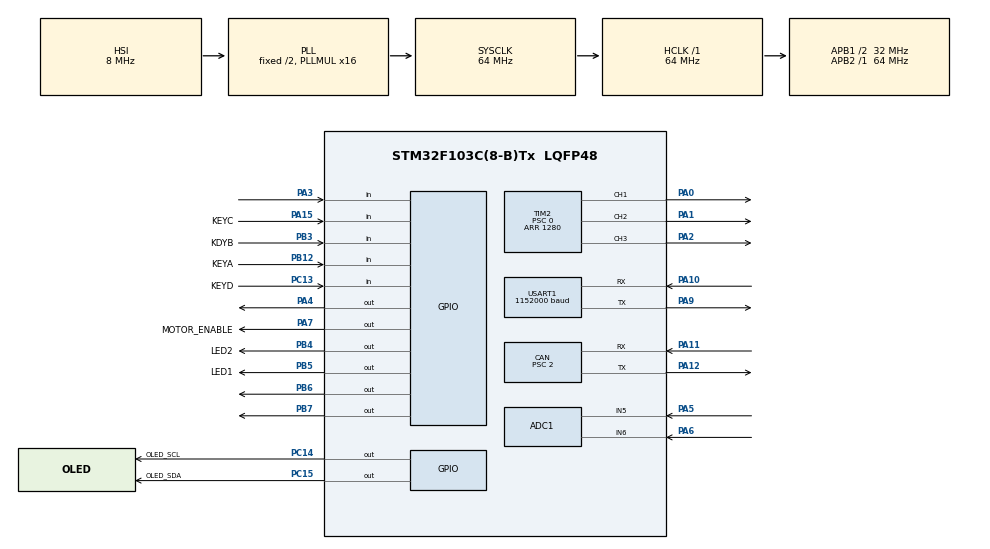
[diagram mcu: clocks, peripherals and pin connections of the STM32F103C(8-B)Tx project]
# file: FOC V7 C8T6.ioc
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ADC1.Channel-0\#ChannelRegularConversion=ADC_CHANNEL_5
ADC1.Channel-1\#ChannelRegularConversion=ADC_CHANNEL_6
ADC1.DiscontinuousConvMode=ENABLE
ADC1.NbrOfConversion=2
ADC1.NbrOfConversionFlag=1
ADC1.Rank-0\#ChannelRegularConversion=1
ADC1.Rank-1\#ChannelRegularConversion=2
ADC1.SamplingTime-0\#ChannelRegularConversion=ADC_SAMPLETIME_13CYCLES_5
ADC1.SamplingTime-1\#ChannelRegularConversion=ADC_SAMPLETIME_13CYCLES_5
ADC1.master=1
CAN.ABOM=ENABLE
CAN.AWUM=DISABLE
CAN.BS1=CAN_BS1_11TQ
CAN.BS2=CAN_BS2_4TQ
CAN.CalculateBaudRate=1000000
CAN.CalculateTimeBit=1000
CAN.CalculateTimeQuantum=62.5
CAN.Mode=CAN_MODE_NORMAL
CAN.NART=ENABLE
CAN.Prescaler=2
CAN.RFLM=DISABLE
CAN.SJW=CAN_SJW_1TQ
CAN.TTCM=DISABLE
CAN.TXFP=DISABLE
Mcu.Family=STM32F1
Mcu.Name=STM32F103C(8-B)Tx
Mcu.Package=LQFP48
NVIC.PriorityGroup=NVIC_PRIORITYGROUP_4
NVIC.TIM1_BRK_IRQn=true\:1\:0\:true\:false\:true\:true\:true
NVIC.TIM1_CC_IRQn=true\:1\:0\:true\:false\:true\:true\:true
NVIC.TIM1_TRG_COM_IRQn=true\:1\:0\:true\:false\:true\:true\:true
NVIC.TIM1_UP_IRQn=true\:1\:0\:true\:false\:true\:true\:true
NVIC.TIM3_IRQn=true\:1\:0\:true\:false\:true\:true\:true
NVIC.USART1_IRQn=true\:0\:0\:false\:false\:true\:true\:true
NVIC.USB_LP_CAN1_RX0_IRQn=true\:1\:0\:true\:false\:true\:true\:true
PA0-WKUP.Signal=S_TIM2_CH1_ETR
PA1.Signal=S_TIM2_CH2
PA10.Mode=Asynchronous
PA10.Signal=USART1_RX
PA11.Mode=CAN_Activate
PA11.Signal=CAN_RX
PA12.Mode=CAN_Activate
PA12.Signal=CAN_TX
PA13.Mode=Serial_Wire
PA13.Signal=SYS_JTMS-SWDIO
PA14.Mode=Serial_Wire
PA14.Signal=SYS_JTCK-SWCLK
PA15.GPIO_Label=KEYC
PA15.GPIO_PuPd=GPIO_PULLUP
PA15.Signal=GPIO_Input
PA2.Signal=S_TIM2_CH3
PA3.GPIO_PuPd=GPIO_PULLUP
PA3.Signal=GPIO_Input
PA4.Signal=GPIO_Output
PA5.Signal=ADCx_IN5
PA6.Signal=ADCx_IN6
PA7.GPIO_Label=MOTOR_ENABLE
PA7.Signal=GPIO_Output
PA9.Mode=Asynchronous
PA9.Signal=USART1_TX
PB12.GPIO_Label=KEYA
PB12.GPIO_PuPd=GPIO_PULLUP
PB12.Signal=GPIO_Input
PB3.GPIO_Label=KDYB
PB3.GPIO_PuPd=GPIO_PULLUP
PB3.Signal=GPIO_Input
PB4.GPIO_Label=LED2
PB4.Signal=GPIO_Output
PB5.GPIO_Label=LED1
PB5.Signal=GPIO_Output
PB6.GPIO_PuPd=GPIO_PULLUP
PB6.GPIO_Speed=GPIO_SPEED_FREQ_HIGH
PB6.PinState=GPIO_PIN_SET
PB6.Signal=GPIO_Output
PB7.GPIO_ModeDefaultOutputPP=GPIO_MODE_OUTPUT_OD
PB7.GPIO_PuPd=GPIO_PULLUP
PB7.GPIO_Speed=GPIO_SPEED_FREQ_HIGH
PB7.PinState=GPIO_PIN_SET
PB7.Signal=GPIO_Output
PC13-TAMPER-RTC.GPIO_Label=KEYD
PC13-TAMPER-RTC.GPIO_PuPd=GPIO_PULLUP
PC13-TAMPER-RTC.Signal=GPIO_Input
PC14-OSC32_IN.GPIO_Label=OLED_SCL
PC14-OSC32_IN.GPIO_Speed=GPIO_SPEED_FREQ_HIGH
PC14-OSC32_IN.Signal=GPIO_Output
PC15-OSC32_OUT.GPIO_Label=OLED_SDA
PC15-OSC32_OUT.GPIO_Speed=GPIO_SPEED_FREQ_HIGH
PC15-OSC32_OUT.Signal=GPIO_Output
ProjectManager.HeapSize=0x200
ProjectManager.StackSize=0x400
ProjectManager.TargetToolchain=MDK-ARM V5.27
RCC.ADCPresc=RCC_ADCPCLK2_DIV6
RCC.AHBFreq_Value=64000000
RCC.APB1CLKDivider=RCC_HCLK_DIV2
RCC.APB1Freq_Value=32000000
RCC.APB1TimFreq_Value=64000000
RCC.APB2Freq_Value=64000000
RCC.APB2TimFreq_Value=64000000
RCC.FLatency=FLASH_LATENCY_2
RCC.HCLKFreq_Value=64000000
RCC.PLLMUL=RCC_PLL_MUL16
RCC.SYSCLKFreq_VALUE=64000000
RCC.SYSCLKSource=RCC_SYSCLKSOURCE_PLLCLK
RCC.USBFreq_Value=64000000
SH.ADCx_IN5.0=ADC1_IN5,IN5
SH.ADCx_IN6.0=ADC1_IN6,IN6
SH.S_TIM2_CH1_ETR.0=TIM2_CH1,PWM Generation1 CH1
SH.S_TIM2_CH2.0=TIM2_CH2,PWM Generation2 CH2
SH.S_TIM2_CH3.0=TIM2_CH3,PWM Generation3 CH3
TIM1.AutoReloadPreload=TIM_AUTORELOAD_PRELOAD_DISABLE
TIM1.ClockDivision=TIM_CLOCKDIVISION_DIV1
TIM1.CounterMode=TIM_COUNTERMODE_UP
TIM1.Period=0
TIM1.Prescaler=64-1
TIM1.TIM_MasterOutputTrigger=TIM_TRGO_RESET
TIM1.TIM_MasterSlaveMode=TIM_MASTERSLAVEMODE_DISABLE
TIM2.AutoReloadPreload=TIM_AUTORELOAD_PRELOAD_DISABLE
TIM2.Channel-PWM\ Generation1\ CH1=TIM_CHANNEL_1
TIM2.Channel-PWM\ Generation2\ CH2=TIM_CHANNEL_2
TIM2.Channel-PWM\ Generation3\ CH3=TIM_CHANNEL_3
TIM2.ClockDivision=TIM_CLOCKDIVISION_DIV1
TIM2.CounterMode=TIM_COUNTERMODE_CENTERALIGNED1
TIM2.OC1Preload_PWM=ENABLE
TIM2.OC2Preload_PWM=ENABLE
TIM2.OC3Preload_PWM=ENABLE
TIM2.OCFastMode_PWM-PWM\ Generation1\ CH1=TIM_OCFAST_DISABLE
TIM2.OCFastMode_PWM-PWM\ Generation2\ CH2=TIM_OCFAST_DISABLE
TIM2.OCFastMode_PWM-PWM\ Generation3\ CH3=TIM_OCFAST_DISABLE
TIM2.OCMode_PWM-PWM\ Generation1\ CH1=TIM_OCMODE_PWM1
TIM2.OCMode_PWM-PWM\ Generation2\ CH2=TIM_OCMODE_PWM1
TIM2.OCMode_PWM-PWM\ Generation3\ CH3=TIM_OCMODE_PWM1
TIM2.OCPolarity_1=TIM_OCPOLARITY_HIGH
TIM2.OCPolarity_2=TIM_OCPOLARITY_HIGH
TIM2.OCPolarity_3=TIM_OCPOLARITY_HIGH
TIM2.Period=1280
TIM2.Prescaler=0
TIM2.Pulse-PWM\ Generation1\ CH1=0
TIM2.Pulse-PWM\ Generation2\ CH2=0
TIM2.Pulse-PWM\ Generation3\ CH3=0
TIM2.TIM_MasterOutputTrigger=TIM_TRGO_RESET
TIM2.TIM_MasterSlaveMode=TIM_MASTERSLAVEMODE_DISABLE
TIM3.Period=100
TIM3.Prescaler=64-1
USART1.BaudRate=1152000
USART1.VirtualMode=VM_ASYNC
VP_TIM1_VS_ClockSourceINT.Mode=Internal
VP_TIM2_VS_ClockSourceINT.Mode=Internal
VP_TIM3_VS_ClockSourceINT.Mode=Internal
board=custom

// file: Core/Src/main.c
/* USER CODE BEGIN Header */
/**
  ******************************************************************************
  * @file           : main.c
  * @brief          : Main program body
  ******************************************************************************
  * @attention
  *
  * Copyright (c) 2024 STMicroelectronics.
  * All rights reserved.
  *
  * This software is licensed under terms that can be found in the LICENSE file
  * in the root directory of this software component.
  * If no LICENSE file comes with this software, it is provided AS-IS.
  *
  ******************************************************************************
  */
/* USER CODE END Header */
#include "main.h"
#include "adc.h"
#include "can.h"
#include "tim.h"
#include "usart.h"
#include "gpio.h"

/* USER CODE BEGIN Includes */
#include <stdio.h>
#include <string.h>
#include <stdlib.h>
#include "MagneticSensor.h"
#include "FOCMotor.h"
#include "BLDCmotor.h"
#include "FlashStorage.h"
#include "Kalman.h"
#include "pid.h"
#include "InlineCurrentSense.h"

#include "OLED_H.h"

/* USER CODE END Includes */

/* USER CODE BEGIN PTD */
enum
{
	//不响
	T_None=0,
	//低八度
  T_L1=3822,
  T_L2=3405,
  T_L3=3034,
  T_L4=2863,
  T_L5=2551,
  T_L6=2272,
  T_L7=2052,
	//中八度
  T_M1=1911,
  T_M2=1703,
  T_M3=1517,
  T_M4=1432,
  T_M5=1276,
  T_M6=1136,
  T_M7=1012,
	//高八度
  T_H1=956,
  T_H2=851,
  T_H3=758,
  T_H4=716,
  T_H5=638,
  T_H6=568,
  T_H7=506
};

/* USER CODE END PTD */

/* USER CODE BEGIN PM */
#define VOLT_SUPPLY 12 //供电母线电压
#define MAX_VOLT 5.0f  //限制供电电压(平均值)，最高为VOLT_SUPPLY/√3; 4010电机:6.9V, 2804电机:4V

/* USER CODE END PM */

/* USER CODE BEGIN PV */
float targetVotage = 0;    //当前目标电压
uint8_t beepPlaying = 0;   //当前是否在蜂鸣状态
uint8_t motorID = 1;       //初始电机ID
uint8_t ledBlink = 1;      //led是否处于正常闪烁模式
float speed = 0;           //传感器作差数据所得转速
float filteredAngle = 0;   //经滤波得到的转子角度
uint32_t lastRecvTime = 0; //上次收到CAN数据帧的时间
Kalman angleFilter; //卡尔曼滤波结构体
uint16_t Uart_Send_Flag=1;

float Motor_Target_angle[6];
float Motor_Target_speed[6]={3.14};
float Motor_Target_current[6]={2};//  目标电流，设定为2就是0.2A左右， 用0.2是因为之前OLED显示方便。
float Motor_Feedback_angle[6];
float Motor_Feedback_speed[6];
float Motor_Feedback_current[6];

/* USER CODE END PV */

void SystemClock_Config(void);

/* USER CODE BEGIN 0 */
//重定义fputc函数
int fputc(int ch, FILE *f)
{
	while((USART1->SR&0X40)==0);
    USART1->DR = (uint8_t) ch;
	return ch;
}
//单片机软件复位
void System_Reset(void)
{
	__set_FAULTMASK(1);
	NVIC_SystemReset();
}

/*************CAN通信*************/
typedef union
{
    __IO uint32_t value;
    struct
    {
        uint8_t REV : 1;			///< [0]    ：未使用
        uint8_t RTR : 1;			///< [1]    : RTR（数据帧或远程帧标志位）
        uint8_t IDE : 1;			///< [2]    : IDE（标准帧或扩展帧标志位）
        uint32_t EXID : 18;			///< [21:3] : 存放扩展帧ID
        uint16_t STID : 11;			///< [31:22]: 存放标准帧ID
    } Sub;
} CAN_FilterRegTypeDef;

#define CAN_BASE_ID 0x100						///< CAN标准ID，最大11位，也就是0x7FF

#define CAN_FILTER_MODE_MASK_ENABLE 1		///< CAN过滤器模式选择：=0：列表模式  =1：屏蔽模式

#define CAN_ID_TYPE_STD_ENABLE      1       ///< CAN过滤ID类型选择：=1：标准ID，=0：扩展ID

//CAN外设初始化
void CAN_Init1111()
{

	  CAN_FilterTypeDef sFilterConfig;
    CAN_FilterRegTypeDef IDH = {0};
    CAN_FilterRegTypeDef IDL = {0};

#if CAN_ID_TYPE_STD_ENABLE
    IDH.Sub.STID = (CAN_BASE_ID >> 16) & 0xFFFF;		// 标准ID高16位
    IDL.Sub.STID = (CAN_BASE_ID & 0xFFFF);				// 标准ID低16位
#else
    IDH.Sub.EXID = (CAN_BASE_ID >> 16) & 0xFFFF;		// 扩展ID高16位
    IDL.Sub.EXID = (CAN_BASE_ID & 0xFFFF);				// 扩展ID低16位
    IDL.Sub.IDE  = 1;									// 扩展帧标志位置位
#endif
    sFilterConfig.FilterBank           = 0;												// 设置过滤器组编号
#if CAN_FILTER_MODE_MASK_ENABLE
    sFilterConfig.FilterMode           = CAN_FILTERMODE_IDMASK;							// 屏蔽位模式
#else
    sFilterConfig.FilterMode           = CAN_FILTERMODE_IDLIST;							// 列表模式
#endif
    sFilterConfig.FilterScale          = CAN_FILTERSCALE_32BIT;							// 32位宽
    sFilterConfig.FilterIdHigh         = IDH.value;										// 标识符寄存器一ID高十六位，放入扩展帧位
    sFilterConfig.FilterIdLow          = IDL.value;										// 标识符寄存器一ID低十六位，放入扩展帧位
    sFilterConfig.FilterMaskIdHigh     = IDH.value;										// 标识符寄存器二ID高十六位，放入扩展帧位
    sFilterConfig.FilterMaskIdLow      = IDL.value;										// 标识符寄存器二ID低十六位，放入扩展帧位
    sFilterConfig.FilterFIFOAssignment = CAN_RX_FIFO0;									// 过滤器组关联到FIFO0
    sFilterConfig.FilterActivation     = ENABLE;										// 激活过滤器
    sFilterConfig.SlaveStartFilterBank = 14;											// 设置从CAN的起始过滤器编号，本单片机只有一个CAN，顾此参数无效
    if (HAL_CAN_ConfigFilter(&hcan, &sFilterConfig) != HAL_OK)
    {
        Error_Handler();
    }
	HAL_CAN_Start(&hcan);
	HAL_CAN_ActivateNotification(&hcan, CAN_IT_RX_FIFO0_MSG_PENDING);

}

//DQCurrent_s current;

// 声明外部变量，这些变量可能在其他文件中定义和更新
extern int pattern; // 模式变量
extern float Target_angle; // 目标角度
extern float Target_speed; // 目标速度
extern float Target_current; // 目标电流
extern int Gear_Switch_Number; // 齿轮切换数
extern float Damping_Vale; // 阻尼值

//发送一个反馈数据帧
void CAN_SendState(float angle, float speed)
{
	CAN_TxHeaderTypeDef header;
	header.StdId = motorID + 0x100;
	header.IDE = CAN_ID_STD;
	header.RTR = CAN_RTR_DATA;
	header.DLC = 8  ;

	uint8_t data[8  ];    //   -0.1
	memcpy(data,&(int32_t){angle*1000},4); 				//角度数据放在前四个字节
	memcpy(&data[4],&(int16_t){speed*100},2); 		//转速数据放在第5-6字节
	memcpy(&data[6],&(int16_t){current.q*100},2); //转速数据放在第5-6字节
//	memcpy(&data[8],&(int16_t){pattern},2);			//CAN 通信只有最多八位数据，要么用CAN——FD

	//printf("%.2f\r\n",angle);
	uint32_t mailbox;
	HAL_CAN_AddTxMessage(&hcan, &header, data, &mailbox);
}

// 定义一个结构体用于存储CAN接收的数据包，包括头部信息和数据负载
typedef struct
{
	CAN_RxHeaderTypeDef hdr; // CAN接收头部信息
	uint8_t payload[8]; // CAN接收的数据负载，最大8字节
}CAN_RxPacketTypeDef;

void HAL_CAN_RxFifo0MsgPendingCallback(CAN_HandleTypeDef *canHandle)
{
	static CAN_RxPacketTypeDef packet;

    // CAN数据接收
    if (canHandle->Instance == hcan.Instance)
    {
        if (HAL_CAN_GetRxMessage(canHandle, CAN_RX_FIFO0, &packet.hdr, packet.payload) == HAL_OK)		// 获得接收到的数据头和数据
        {

					if(packet.hdr.StdId >= 0x101 && packet.hdr.StdId <= 0x106) //ID=1~4接收0x100数据帧
					{
						Motor_Feedback_angle  [packet.hdr.StdId - 0x101] =   *(int32_t *)&packet.payload[0] / 1000.0f ;
						Motor_Feedback_speed  [packet.hdr.StdId - 0x101] =  (*(int16_t *)&packet.payload[4] );//速度反馈，放大了100倍。
						Motor_Feedback_current[packet.hdr.StdId - 0x101] =  (*(int16_t *)&packet.payload[6] );//速度反馈，放大了100倍。

					}

          HAL_CAN_ActivateNotification(canHandle, CAN_IT_RX_FIFO0_MSG_PENDING);						// 再次使能FIFO0接收中断
        }
    }
}

/*************FOC*************/

void SimpleFOC_Init()
{
	HAL_TIM_PWM_Start(&htim2,TIM_CHANNEL_1); //开启三个PWM通道输出
	HAL_TIM_PWM_Start(&htim2,TIM_CHANNEL_2);
	HAL_TIM_PWM_Start(&htim2,TIM_CHANNEL_3);

	MagneticSensor_Init(); //初始化磁传感器

	voltage_power_supply=VOLT_SUPPLY; //设定FOC所需参数
	voltage_limit=MAX_VOLT;
	voltage_sensor_align=voltage_limit;
	targetVotage=0;

	Motor_init(); //初始化电机信息
	Motor_initFOC(); //初始化FOC参数

	motorID = Flash_ReadMotorID(); //从Flash读取电机ID
	motorID = motorID ? motorID : 1;
//	motorID=1;
//
//	Flash_SaveMotorID(motorID);
//
//	printf("motorID = %d\r\n",motorID);
}

/*************蜂鸣*************/

//根据蜂鸣周期配置并触发定时器
void Beep_Play(uint16_t period)
{
	if(period!=0)
	{
		__HAL_TIM_SetAutoreload(&htim1,period/2);
		HAL_TIM_Base_Start_IT(&htim1);
		beepPlaying = 1;
	}
	else
	{
		HAL_TIM_Base_Stop_IT(&htim1);
		beepPlaying = 0;
	}
}

//播放一串音符
void Beep_PlayNotes(uint8_t num, uint16_t notes[][2])
{
	for(uint8_t i=0; i<num; i++)
	{
		Beep_Play(notes[i][0]);
		HAL_Delay(notes[i][1]);
	}
	Beep_Play(0);
}

//蜂鸣中断处理，在定时器中断回调中调用
void Beep_IRQHandler()
{
	static uint8_t flipFlag = 0;
	if(targetVotage == 0)
	{
		setPhaseVoltage(voltage_limit/2, 0, _PI/3 * flipFlag); //使磁场方向在0-PI/3间震荡
		flipFlag = !flipFlag;
	}
}

/*************各个定时任务*************/

//非阻塞按键处理
//void Key_Process()
//{
//	static uint32_t downTime = 0;
//	static uint8_t lastKeyState = 0;
//	uint8_t keyState = (HAL_GPIO_ReadPin(GPIOA, GPIO_PIN_3) == GPIO_PIN_RESET) ? 1 : 0;
//	if(keyState && !lastKeyState) //按下
//	{
//		downTime = HAL_GetTick();
//		ledBlink = 0;
//	}
//	else if(keyState && lastKeyState) //按住
//	{
//		uint32_t pressTime = HAL_GetTick() - downTime;
//		if(pressTime < 500*8) //闪8下，每次500ms
//		{
//			if(pressTime%500 < 100)
//				HAL_GPIO_WritePin(GPIOC, GPIO_PIN_13, GPIO_PIN_SET);
//			else
//				HAL_GPIO_WritePin(GPIOC, GPIO_PIN_13, GPIO_PIN_RESET);
//		}
//		else if(pressTime < 500*12)
//			HAL_GPIO_WritePin(GPIOC, GPIO_PIN_13, GPIO_PIN_SET);
//		else
//			HAL_GPIO_WritePin(GPIOC, GPIO_PIN_13, GPIO_PIN_RESET); //闪8下之后常亮
//	}
//	else if(!keyState && lastKeyState) //松开
//	{
//		uint32_t pressTime = HAL_GetTick() - downTime;
//		if(pressTime > 50 && pressTime <500*8) //闪8下以内松开，设置ID
//		{
//			motorID = pressTime/500 + 1;
//			Flash_SaveMotorID(motorID);
//		}
//		else if(pressTime >= 500*8 && pressTime < 500*12) //闪8下后松开，清空Flash后复位重新校准
//		{
//			Flash_EraseMotorParam();
//			System_Reset();
//		}
//		HAL_GPIO_WritePin(GPIOC, GPIO_PIN_13, GPIO_PIN_RESET);
//		ledBlink = 1;
//	}
//	lastKeyState = keyState;
//}

//非阻塞LED定时任务，闪烁次数表示电机ID
void Led_Process()
{
	if(!ledBlink) return;
	uint32_t period = 1000 + (100+200)*motorID;
	uint32_t mod = HAL_GetTick() % period;
	if(mod < (100+200)*motorID && mod%(100+200) < 100)
	{
		HAL_GPIO_WritePin(GPIOB, GPIO_PIN_4, GPIO_PIN_SET);
	//HAL_GPIO_WritePin(GPIOB, GPIO_PIN_5, GPIO_PIN_SET);
	}
	else
	{
		HAL_GPIO_WritePin(GPIOB, GPIO_PIN_4, GPIO_PIN_RESET);
//	HAL_GPIO_WritePin(GPIOB, GPIO_PIN_5, GPIO_PIN_RESET);
	}
}

////电机转速计算
//void Motor_SpeedCalcProcess()
//{
//	const uint8_t speedLpfLen = 5;
//	static float speedLpfBuf[speedLpfLen] = {0}; //存放5个filteredAngle
//
//	float angle = filteredAngle;
//	float curSpeed = (angle-speedLpfBuf[0])*1000/speedLpfLen/_2PI*60;
//	speed = curSpeed;
//
//	for(uint8_t i=0; i<speedLpfLen-1; i++)
//		speedLpfBuf[i] = speedLpfBuf[i+1];
//	speedLpfBuf[speedLpfLen-1] = angle;
//}

////CAN离线检测，500ms没收到CAN信号则停机
//void Motor_OfflineCheckProcess()
//{
//	static uint8_t isOffline = 0;
//	if(HAL_GetTick() - lastRecvTime > 500)
//	{
//		if(!isOffline)
//		{
//			targetVotage = 0;
//			isOffline = 1;
//		}
//	}
//	else
//		isOffline = 0;
//}

//在滴答定时器中调用，1ms周期，处理各定时任务
void SysTick_UserExec()
{
//	Key_Process();
	Led_Process();
	//Motor_SpeedCalcProcess();
	//Motor_OfflineCheckProcess();
	if(HAL_GetTick()%5)
		CAN_SendState(shaft_angle, shaft_velocity);
//	filteredAngle = Kalman_Filter(&angleFilter, shaft_angle);
}

void HAL_ADCEx_InjectedConvCpltCallback(ADC_HandleTypeDef* hadc)
{

}

uint8_t rx_byte; // 用于存储接收到的一个字节
extern char show_one_flag_2;

void HAL_UART_RxCpltCallback(UART_HandleTypeDef *huart)
{
    // 仅处理特定的串口中断（如 USART1），避免多串口冲突
    if (huart->Instance == USART1)
    {
        // 静态变量用于状态机
        static char command_buffer[5];         // 存储完整的5字符命令
        static uint8_t buffer_index = 0;       // 当前缓冲区索引
        static enum { WAIT_COMMAND, WAIT_EQUAL, WAIT_DATA } state = WAIT_COMMAND; // 状态机状态

        // 获取接收到的字节
        char received = rx_byte;

        switch(state)
        {
            case WAIT_COMMAND:
                // 检查是否为有效的命令字母（M, C, A, S, Z, G），支持大小写
                if ((received == 'M') || (received == 'm') ||
                    (received == 'C') || (received == 'c') ||
                    (received == 'A') || (received == 'a') ||
                    (received == 'S') || (received == 's') ||
                    (received == 'D') || (received == 'd') ||
                    (received == 'G') || (received == 'g'))
                {
                    command_buffer[0] = received;
                    buffer_index = 1;
                    state = WAIT_EQUAL;
                }
                // 如果不是命令字母，则忽略该字节，继续等待
                break;

            case WAIT_EQUAL:
                if (received == '=')
                {
                    state = WAIT_DATA;
                }
                else
                {
                    // 如果不是 '=', 则重置状态机
                    buffer_index = 0;
                    state = WAIT_COMMAND;
                }
                break;

            case WAIT_DATA:
                // 接收数据部分的三个字符
                if (buffer_index < 4)
                {
                    command_buffer[buffer_index++] = received;
                }

                // 当接收满4个字符（包括命令字母），则处理命令
                if (buffer_index >= 4)
                {
                    command_buffer[4] = '\0'; // 添加字符串结束符，确保安全

                    // 提取命令字母和数据部分
                    char cmd = command_buffer[0];
                    char data_str[4];
                    memcpy(data_str, &command_buffer[1], 3);
                    data_str[3] = '\0'; // 确保字符串结束

                    // 将数据部分转换为整数
                    int value = atoi(data_str);

										Uart_Send_Flag = 1 ;// 刷新串口打印内容

                    // 根据命令类型更新相应的变量
                    switch(cmd)
                    {
                        case 'M':
                        case 'm':
                            // 更改 pattern 模式变量，按照要求为 1xxx
                            pattern = 1000 + value;
                            break;

                        case 'C':
                        case 'c':
                            // 更改目标电流指令，将整数转换为浮点数 xx.x
                            Motor_Target_current[0] = value ;
                            break;

                        case 'A':
                        case 'a':
                            // 更改目标角度指令，将整数转换为浮点数 xx.x
                            Motor_Target_angle[0] = value / 10.0f;
                            break;

                        case 'S':
                        case 's':
                            // 更改目标速度指令，假设直接赋值为浮点数
                            Motor_Target_speed[0] = (float)value/10.f;
                            break;

                        case 'D':
                        case 'd':
                            // 更改阻尼指令，直接赋值为整数
												Damping_Vale = (float)value/10.f;//只能发送1，所以要/10
                            break;

                        case 'G':
                        case 'g':
                            // 更改多档开关挡位指令，直接赋值为整数
                            Gear_Switch_Number = value;
                            break;

                        default:
                            // 未知命令，忽略
                            break;
                    }
										Target_angle = Motor_Target_angle[0];			//设定目标角度
										Target_current = Motor_Target_current[0];	//设定目标电流
										Target_speed 	= Motor_Target_speed[0];			//设定目标速度
										show_one_flag_2=1;
                    // 处理完一个完整命令后，重置状态机
                    buffer_index = 0;
                    state = WAIT_COMMAND;
                }
                break;

            default:
                // 默认情况下，重置状态机
                buffer_index = 0;
                state = WAIT_COMMAND;
                break;
        }

        // 重新启动接收中断，以便继续接收下一个字节
        HAL_UART_Receive_IT(huart, &rx_byte, 1);
    }
}

void Uart_Send_Task()
{
	if(Uart_Send_Flag)
	{
		Uart_Send_Flag=0;
		switch(pattern)
		{

				case 1000:// 低速高扭矩
					printf("Low speed high torque    <<%4d>> \r\n ",pattern);

					break;
				case 1010:// 位置模式+ 电流限制
					printf("position_loop +  Current_loop    <<%4d>> \r\n ",pattern);
					printf("Target_Angle:%.2f \r\n",Motor_Target_angle[0]);
					printf("Max_Current: %.2f \r\n",Motor_Target_current[0]/10);
					break;
				case 1020:// 位置模式 + 阻力反馈
					printf("position_loop +  Resistance_feedback     <<%4d>> \r\n ",pattern);
					printf("Target_Angle: %.2f \r\n",Motor_Target_angle[0]);
					printf("Max_Current:  %.2f \r\n",Motor_Target_current[0]/10);

				break;
			case 1030:// 位置模式 + 电流限制 + 速度限制
					printf("position_loop + Current_loop +  speed_loop    <<%4d>> \r\n ",pattern);
					printf("Target_Angle: %.2f \r\n",Motor_Target_angle[0]);
					printf("Max_Current:  %.2f \r\n",Motor_Target_current[0]/10);
					printf("Max_Speed:    %.2f \r\n",Motor_Target_speed[0]);

			break;
			case 1040://  速度模式 + 电流限制
					printf("speed_loop +  Current_loop     <<%4d>> \r\n ",pattern);
					printf("Target_Speed: %.2f \r\n",Motor_Target_speed[0]);
					printf("Max_Current:  %.2f \r\n",Motor_Target_current[0]/10);

			break;
			case 1050://转动旋钮   慢慢停止////////////////////////////////////////////////////////////////
					printf("Slow stop knob    <<%4d>> \r\n ",pattern);

			break;
			case 1060://转动旋钮   不停止////////////////////////////////////////////////////////////////
					printf("No stop knob    <<%4d>> \r\n ",pattern);

			break;
			case 1070://阻尼旋钮////////////////////////////////////////////////////////////////
					printf("Resistance knob    <<%4d>> \r\n ",pattern);
					printf("Damping_Vale: %.2f \r\n",Damping_Vale);

				break;
			case 1080://多档开关////////////////////////////////////////////////////////////////
					printf("limited Multispeed switch    <<%4d>> \r\n ",pattern);
					printf("Number: %2d \r\n",Gear_Switch_Number);

				break;
			case 1090://多档开关////////////////////////////////////////////////////////////////
					printf("unlimited Multispeed switch    <<%4d>> \r\n ",pattern);
					printf("Number: %2d \r\n",Gear_Switch_Number);

				break;

		}
	}

}

/* USER CODE END 0 */

int main(void)
{

  /* MCU Configuration--------------------------------------------------------*/

  /* Reset of all peripherals, Initializes the Flash interface and the Systick. */
  HAL_Init();

  /* Configure the system clock */
  SystemClock_Config();

  /* Initialize all configured peripherals */
  MX_GPIO_Init();
  MX_ADC1_Init();
  MX_CAN_Init();
  MX_TIM1_Init();
  MX_TIM2_Init();
  MX_TIM3_Init();
  MX_USART1_UART_Init();
  /* USER CODE BEGIN 2 */

	for(int i=0;i<200;i++)OLED_Init_H();
	OLED_Clear();
	OLED_Show_String(3,10,"System Loading");

	HAL_UART_Receive_IT(&huart1, &rx_byte, 1);  // 启动接收中断，每次接收一个字节

	// 初始化内联电流测量，参数包括：采样电阻阻值0.001欧姆，运放增益20倍，A相、B相和C相初始电流设置为0
	InlineCurrentSense(0.001, 20, 0, 0, 0); // SimpleMotor

	// 初始化ADC用于电流测量，并进行偏置电压校准，以确保测量精度
	InlineCurrentSense_Init();

	// 设定电压极限为系统定义的最大电压值
	voltage_limit = MAX_VOLT;

	// 设置直轴（d轴）和交轴（q轴）电流的PID控制器的输出限制为最大电压
	PID_current_q.limit = voltage_limit;
	PID_current_d.limit = voltage_limit;

	// 设置速度PID控制器的输出限制为最大电压，并定义输出增加的最大斜率为50（用于平滑速度变化）
	PID_velocity.limit = voltage_limit;
	PID_velocity.output_ramp = 50;

	// 设置角度P控制器的输出限制为最大电压
	P_angle.limit = voltage_limit;

	// 初始化所有PID控制器
	PID_init();

// 初始化FOC算法，用于电机的矢量控制
	SimpleFOC_Init();

//	motorID=1;
//	Flash_SaveMotorID(motorID);
//	printf("motorID = %d\r\n",motorID);

	// 播放开机音效，使用蜂鸣器按顺序播放音调H1, H3, H5，持续时间分别为200ms, 200ms, 500ms
	Beep_PlayNotes(3, (uint16_t[][2]){{T_H1, 200}, {T_H3, 200}, {T_H5, 500}});

	// 初始化卡尔曼滤波器，用于角度估计，设置噪声参数和估计误差
	Kalman_Init(&angleFilter, 0.0005f, 0.1f);

	// 初始化卡尔曼滤波器，用于轴速度估计，设置噪声参数和估计误差
	Kalman_Init(&kalman_shaft_velocity_Filter, 0.0005f, 0.1f);

	// 初始化卡尔曼滤波器，用于交轴电流Iq的估计，设置噪声参数和估计误差
	Kalman_Init(&kalman_current_Iq_Filter, 0.0005f, 0.1f);

	HAL_GPIO_WritePin(MOTOR_ENABLE_GPIO_Port,MOTOR_ENABLE_Pin,GPIO_PIN_SET);//ENABNLE Motor

	OLED_Clear();

	KalMan_PramInit(&KalMan_current_Iq);	//把卡尔曼的系数全部跟新一遍，下面调用滤波会用到这些参数

  /* USER CODE END 2 */

  /* Infinite loop */
  /* USER CODE BEGIN WHILE */
  while (1)
  {

		setTargetVotage(targetVotage); //设定FOC电压
		loopFOC(); //运行FOC算法
		Uart_Send_Task();

    /* USER CODE END WHILE */

  }
}

void SystemClock_Config(void)
{
  RCC_OscInitTypeDef RCC_OscInitStruct = {0};
  RCC_ClkInitTypeDef RCC_ClkInitStruct = {0};
  RCC_PeriphCLKInitTypeDef PeriphClkInit = {0};

  /** Initializes the RCC Oscillators according to the specified parameters
  * in the RCC_OscInitTypeDef structure.
  */
  RCC_OscInitStruct.OscillatorType = RCC_OSCILLATORTYPE_HSI;
  RCC_OscInitStruct.HSIState = RCC_HSI_ON;
  RCC_OscInitStruct.HSICalibrationValue = RCC_HSICALIBRATION_DEFAULT;
  RCC_OscInitStruct.PLL.PLLState = RCC_PLL_ON;
  RCC_OscInitStruct.PLL.PLLSource = RCC_PLLSOURCE_HSI_DIV2;
  RCC_OscInitStruct.PLL.PLLMUL = RCC_PLL_MUL16;
  if (HAL_RCC_OscConfig(&RCC_OscInitStruct) != HAL_OK)
  {
    Error_Handler();
  }
  /** Initializes the CPU, AHB and APB buses clocks
  */
  RCC_ClkInitStruct.ClockType = RCC_CLOCKTYPE_HCLK|RCC_CLOCKTYPE_SYSCLK
                              |RCC_CLOCKTYPE_PCLK1|RCC_CLOCKTYPE_PCLK2;
  RCC_ClkInitStruct.SYSCLKSource = RCC_SYSCLKSOURCE_PLLCLK;
  RCC_ClkInitStruct.AHBCLKDivider = RCC_SYSCLK_DIV1;
  RCC_ClkInitStruct.APB1CLKDivider = RCC_HCLK_DIV2;
  RCC_ClkInitStruct.APB2CLKDivider = RCC_HCLK_DIV1;

  if (HAL_RCC_ClockConfig(&RCC_ClkInitStruct, FLASH_LATENCY_2) != HAL_OK)
  {
    Error_Handler();
  }
  PeriphClkInit.PeriphClockSelection = RCC_PERIPHCLK_ADC;
  PeriphClkInit.AdcClockSelection = RCC_ADCPCLK2_DIV6;
  if (HAL_RCCEx_PeriphCLKConfig(&PeriphClkInit) != HAL_OK)
  {
    Error_Handler();
  }
}

void Error_Handler(void)
{
  __disable_irq();
  while (1)
  {
  }
}
